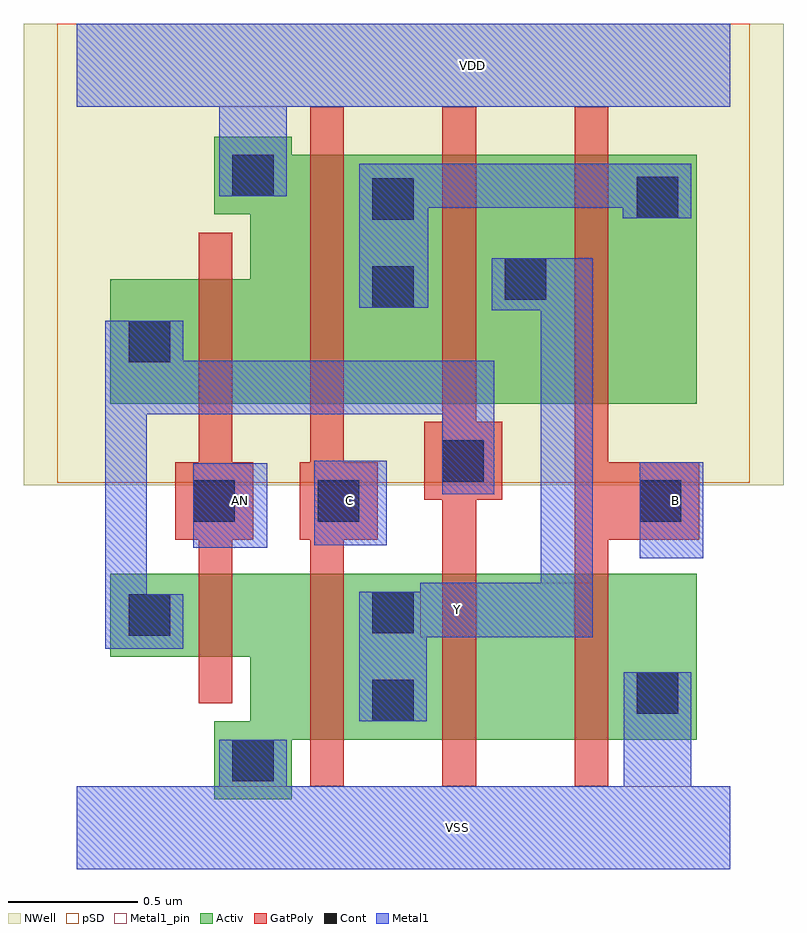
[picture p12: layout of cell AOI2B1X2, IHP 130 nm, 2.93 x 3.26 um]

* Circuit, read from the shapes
.subckt AOI2B1X2 AN B C VDD VSS Y
XM1 VSS AN n1 VSUBS sg13_lv_nmos w=0.32u l=0.13u
XM2 Y C VSS VSUBS sg13_lv_nmos w=0.64u l=0.13u
XM3 n2 n1 Y VSUBS sg13_lv_nmos w=0.64u l=0.13u
XM4 VSS B n2 VSUBS sg13_lv_nmos w=0.64u l=0.13u
XM5 VDD AN n1 n3 sg13_lv_pmos w=0.48u l=0.13u
XM6 n4 C VDD n3 sg13_lv_pmos w=0.96u l=0.13u
XM7 Y n1 n4 n3 sg13_lv_pmos w=0.96u l=0.13u
XM8 n4 B Y n3 sg13_lv_pmos w=0.96u l=0.13u
.ends

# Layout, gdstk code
import gdstk
lib = gdstk.Library(unit=1e-6, precision=1e-09)
def R(c, l, rs):  # rectangles x0, y0, x1, y1
    for r in rs: c.add(gdstk.rectangle(r[:2], r[2:], *l))
def P(c, l, *ps):  # polygons
    for p in ps: c.add(gdstk.Polygon(p, *l))
Activ = (1, 0)
GatPoly = (5, 0)
Cont = (6, 0)
Metal1 = (8, 0)
Metal1_pin = (8, 2)
pSD = (14, 0)
NWell = (31, 0)

aoi2b1x2 = lib.new_cell('AOI2B1X2')
P(aoi2b1x2, Activ, [(0.53,0.11),(0.53,0.41),(0.67,0.41),(0.67,0.66),(0.13,0.66),(0.13,0.98),(2.39,0.98),(2.39,0.34),(0.83,0.34),(0.83,0.11)],
  [(0.13,1.635),(0.13,2.115),(0.67,2.115),(0.67,2.365),(0.53,2.365),(0.53,2.665),(0.83,2.665),(0.83,2.595),(2.39,2.595),(2.39,1.635)])
P(aoi2b1x2, GatPoly, [(1.92,0.16),(1.92,2.78),(2.05,2.78),(2.05,1.41),(2.4,1.41),(2.4,1.11),(2.05,1.11),(2.05,0.16)],
  [(1.41,0.16),(1.41,1.265),(1.34,1.265),(1.34,1.565),(1.41,1.565),(1.41,2.78),(1.54,2.78),(1.54,1.565),(1.64,1.565),(1.64,1.265),(1.54,1.265),(1.54,0.16)],
  [(0.9,0.16),(0.9,1.11),(0.86,1.11),(0.86,1.41),(0.9,1.41),(0.9,2.78),(1.03,2.78),(1.03,1.41),(1.16,1.41),(1.16,1.11),(1.03,1.11),(1.03,0.16)],
  [(0.47,0.48),(0.47,1.11),(0.38,1.11),(0.38,1.41),(0.47,1.41),(0.47,2.295),(0.6,2.295),(0.6,1.41),(0.68,1.41),(0.68,1.11),(0.6,1.11),(0.6,0.48)])
R(aoi2b1x2, Cont, [(0.6,0.18,0.76,0.34), (1.14,0.41,1.3,0.57), (2.16,0.44,2.32,0.6), (0.2,0.74,0.36,0.9), (1.14,0.75,1.3,0.91), (0.45,1.18,0.61,1.34), (0.93,1.18,1.09,1.34), (2.17,1.18,2.33,1.34), (1.41,1.335,1.57,1.495), (0.2,1.795,0.36,1.955), (1.14,2.005,1.3,2.165), (1.65,2.035,1.81,2.195), (1.14,2.345,1.3,2.505), (2.16,2.35,2.32,2.51), (0.6,2.435,0.76,2.595)])
R(aoi2b1x2, Metal1, [(2.17,1.04,2.415,1.41), (0.45,1.08,0.735,1.405), (0.915,1.09,1.195,1.415)])
P(aoi2b1x2, Metal1, [(1.09,2.005),(1.09,2.56),(2.37,2.56),(2.37,2.35),(2.105,2.35),(2.105,2.39),(1.355,2.39),(1.355,2.005)],
  [(1.09,0.41),(1.09,0.91),(1.325,0.91),(1.325,0.945),(1.79,0.945),(1.79,1.995),(1.6,1.995),(1.6,2.195),(1.99,2.195),(1.99,0.735),(1.35,0.735),(1.35,0.41)],
  [(0,-0.16),(0,0.16),(0.55,0.16),(0.55,0.34),(0.81,0.34),(0.81,0.16),(2.11,0.16),(2.11,0.6),(2.37,0.6),(2.37,0.16),(2.52,0.16),(2.52,-0.16)],
  [(0.55,2.435),(0.55,2.78),(0,2.78),(0,3.1),(2.52,3.1),(2.52,2.78),(0.81,2.78),(0.81,2.435)],
  [(0.11,0.69),(0.11,1.955),(0.41,1.955),(0.41,1.8),(1.61,1.8),(1.61,1.285),(1.41,1.285),(1.41,1.595),(0.27,1.595),(0.27,0.9),(0.41,0.9),(0.41,0.69)])
R(aoi2b1x2, Metal1_pin, [(0,-0.16,2.52,0.16), (1.325,0.735,1.99,0.945), (2.17,1.04,2.415,1.41), (0.45,1.08,0.735,1.405), (0.915,1.09,1.195,1.415), (0,2.78,2.52,3.1)])
R(aoi2b1x2, pSD, [(-0.075,1.33,2.595,3.1)])
R(aoi2b1x2, NWell, [(-0.205,1.32,2.725,3.1)])
aoi2b1x2.add(gdstk.Label('VSS', (1.47,0), layer=8, texttype=25))
aoi2b1x2.add(gdstk.Label('C', (1.05,1.26), layer=8, texttype=25))
aoi2b1x2.add(gdstk.Label('B', (2.31,1.26), layer=8, texttype=25))
aoi2b1x2.add(gdstk.Label('Y', (1.47,0.84), layer=8, texttype=25))
aoi2b1x2.add(gdstk.Label('AN', (0.63,1.26), layer=8, texttype=25))
aoi2b1x2.add(gdstk.Label('VDD', (1.525,2.94), layer=8, texttype=25))

lib.write_gds('AOI2B1X2.gds')
